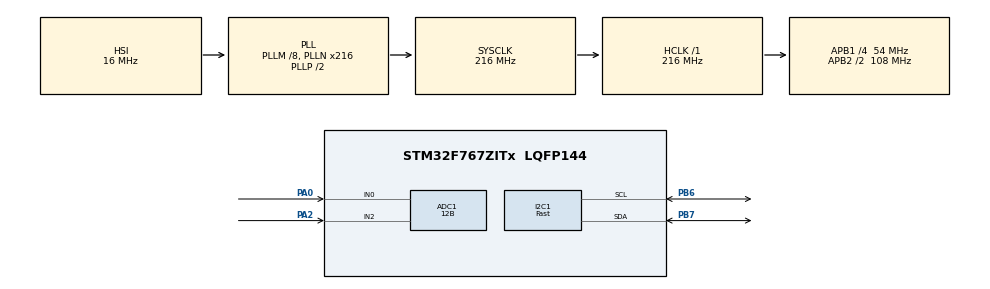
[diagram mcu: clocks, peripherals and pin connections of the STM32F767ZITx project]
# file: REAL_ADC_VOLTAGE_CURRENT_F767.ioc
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ADC1.Channel-0\#ChannelRegularConversion=ADC_CHANNEL_0
ADC1.Channel-1\#ChannelRegularConversion=ADC_CHANNEL_VREFINT
ADC1.Channel-2\#ChannelRegularConversion=ADC_CHANNEL_2
ADC1.ContinuousConvMode=ENABLE
ADC1.DMAContinuousRequests=ENABLE
ADC1.NbrOfConversion=3
ADC1.NbrOfConversionFlag=1
ADC1.Rank-0\#ChannelRegularConversion=1
ADC1.Rank-1\#ChannelRegularConversion=2
ADC1.Rank-2\#ChannelRegularConversion=3
ADC1.Resolution=ADC_RESOLUTION_12B
ADC1.SamplingTime-0\#ChannelRegularConversion=ADC_SAMPLETIME_56CYCLES
ADC1.SamplingTime-1\#ChannelRegularConversion=ADC_SAMPLETIME_56CYCLES
ADC1.SamplingTime-2\#ChannelRegularConversion=ADC_SAMPLETIME_112CYCLES
ADC1.ScanConvMode=ADC_SCAN_ENABLE
ADC1.master=1
Dma.ADC1.0.Direction=DMA_PERIPH_TO_MEMORY
Dma.ADC1.0.FIFOMode=DMA_FIFOMODE_DISABLE
Dma.ADC1.0.Instance=DMA2_Stream0
Dma.ADC1.0.MemDataAlignment=DMA_MDATAALIGN_WORD
Dma.ADC1.0.MemInc=DMA_MINC_ENABLE
Dma.ADC1.0.Mode=DMA_CIRCULAR
Dma.ADC1.0.PeriphDataAlignment=DMA_PDATAALIGN_WORD
Dma.ADC1.0.PeriphInc=DMA_PINC_DISABLE
Dma.ADC1.0.Priority=DMA_PRIORITY_MEDIUM
Dma.Request0=ADC1
I2C1.Analog_Filter=I2C_ANALOGFILTER_DISABLE
I2C1.I2C_Speed_Mode=I2C_Fast
I2C1.Timing=0x10A03FCB
Mcu.Family=STM32F7
Mcu.Name=STM32F767ZITx
Mcu.Package=LQFP144
NVIC.DMA2_Stream0_IRQn=true\:0\:0\:false\:false\:true\:false\:true\:true
NVIC.PriorityGroup=NVIC_PRIORITYGROUP_4
PA0/WKUP.Signal=ADCx_IN0
PA13.Mode=Serial_Wire
PA13.Signal=SYS_JTMS-SWDIO
PA14.Mode=Serial_Wire
PA14.Signal=SYS_JTCK-SWCLK
PA2.Signal=ADCx_IN2
PB6.Mode=I2C
PB6.Signal=I2C1_SCL
PB7.Mode=I2C
PB7.Signal=I2C1_SDA
PH0/OSC_IN.Mode=HSE-External-Oscillator
PH0/OSC_IN.Signal=RCC_OSC_IN
PH1/OSC_OUT.Mode=HSE-External-Oscillator
PH1/OSC_OUT.Signal=RCC_OSC_OUT
ProjectManager.HeapSize=0x200
ProjectManager.StackSize=0x400
ProjectManager.TargetToolchain=STM32CubeIDE
RCC.AHBFreq_Value=216000000
RCC.APB1CLKDivider=RCC_HCLK_DIV4
RCC.APB1Freq_Value=54000000
RCC.APB1TimFreq_Value=108000000
RCC.APB2CLKDivider=RCC_HCLK_DIV2
RCC.APB2Freq_Value=108000000
RCC.APB2TimFreq_Value=216000000
RCC.CortexFreq_Value=216000000
RCC.HCLKFreq_Value=216000000
RCC.HSE_VALUE=25000000
RCC.HSI_VALUE=16000000
RCC.I2C1CLockSelection=RCC_I2C1CLKSOURCE_SYSCLK
RCC.LSE_VALUE=32768
RCC.PLLM=8
RCC.PLLN=216
RCC.SYSCLKFreq_VALUE=216000000
RCC.SYSCLKSource=RCC_SYSCLKSOURCE_PLLCLK
RCC.USBFreq_Value=216000000
RCC.VCOOutputFreq_Value=432000000
SH.ADCx_IN0.0=ADC1_IN0,IN0
SH.ADCx_IN2.0=ADC1_IN2,IN2
VP_ADC1_Vref_Input.Mode=IN-Vrefint
board=custom

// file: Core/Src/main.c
/* USER CODE BEGIN Header */
/**
  ******************************************************************************
  * @file           : main.c
  * @brief          : Main program body
  ******************************************************************************
  * @attention
  *
  * Copyright (c) 2024 STMicroelectronics.
  * All rights reserved.
  *
  * This software is licensed under terms that can be found in the LICENSE file
  * in the root directory of this software component.
  * If no LICENSE file comes with this software, it is provided AS-IS.
  *
  ******************************************************************************
  */
/* USER CODE END Header */
#include "main.h"

/* USER CODE BEGIN Includes */
#include"i2c-lcd.h"
#include"string.h"
#include"stdio.h"
#define VREFIN_CAL ((uint16_t*)((uint32_t)0x1FF0F44A))
#define dger 0.353
uint32_t adc_value[3];
uint32_t adc_buffer[3];
float Aadc = 0, Vdda = 0,yuzde=0;
uint16_t adc=0;
float voltage=0;
int count = 0,buffer_a=0,buffer_b=0;
char aadc_Deger[50];
char vvdc_Deger[50];
float sum=0,sum2=0,sum3=0,real_voltage=0,yuzde_real=0,real_Aadc=0;
int i=0;
/* USER CODE END Includes */

ADC_HandleTypeDef hadc1;
DMA_HandleTypeDef hdma_adc1;

I2C_HandleTypeDef hi2c1;

/* USER CODE BEGIN PV */
char tx_buff[50];
/* USER CODE END PV */

void SystemClock_Config(void);
static void MX_GPIO_Init(void);
static void MX_DMA_Init(void);
static void MX_ADC1_Init(void);
static void MX_I2C1_Init(void);

/* USER CODE BEGIN 0 */

void adc_readcurrent(){
	  Vdda = (float) 3.3 * (*VREFIN_CAL) / adc_buffer[1];
	       buffer_a=adc_buffer[0];
//		  Aadc = (float)((Vdda * buffer_a / 4095)/330)*1000;
	       Aadc = (float)(Vdda * buffer_a / 4095);
		  buffer_b=adc_buffer[2];
		  voltage=(float)((Vdda * buffer_b/4095)/368)*1000;
		  yuzde=(float)(100*voltage)/9;
}

/* USER CODE END 0 */

int main(void)
{

  /* MCU Configuration--------------------------------------------------------*/

  /* Reset of all peripherals, Initializes the Flash interface and the Systick. */
  HAL_Init();

  /* Configure the system clock */
  SystemClock_Config();

  /* Initialize all configured peripherals */
  MX_GPIO_Init();
  MX_DMA_Init();
  MX_ADC1_Init();
  MX_I2C1_Init();
  /* USER CODE BEGIN 2 */
  lcd_init();
  HAL_ADC_Start_DMA(&hadc1,adc_buffer,3);

  /* USER CODE END 2 */

  /* Infinite loop */
  while (1)
  {

    /* USER CODE BEGIN 3 */

         for(i=0; i<4095; i++){
        	 adc_readcurrent();

        	 sum +=yuzde;
        	 sum2 +=voltage;
        	 sum3 +=Aadc;
         }
         real_voltage=(float) (sum2/4095);
         yuzde_real=(float) (sum/4095);
         real_Aadc=(float) (sum3/4095);
	  // lcd_send_cmd(0x80);
	  //lcd_send_string("E");
	  sprintf (aadc_Deger,"A:%.4f ma",real_Aadc);
	  sprintf (vvdc_Deger,"V:%.4fV %%:%.1f",real_voltage,yuzde_real);
	  lcd_send_string(aadc_Deger);
	  lcd_send_cmd(0xC0);
	  lcd_send_string(vvdc_Deger);
	  HAL_Delay(400);
	  lcd_send_cmd(0x01);
	  	 HAL_Delay(400);
     sum=0;
     sum2=0;
     sum3=0;

  }
  /* USER CODE END 3 */
}

void SystemClock_Config(void)
{
  RCC_OscInitTypeDef RCC_OscInitStruct = {0};
  RCC_ClkInitTypeDef RCC_ClkInitStruct = {0};

  /** Configure the main internal regulator output voltage
  */
  __HAL_RCC_PWR_CLK_ENABLE();
  __HAL_PWR_VOLTAGESCALING_CONFIG(PWR_REGULATOR_VOLTAGE_SCALE1);

  /** Initializes the RCC Oscillators according to the specified parameters
  * in the RCC_OscInitTypeDef structure.
  */
  RCC_OscInitStruct.OscillatorType = RCC_OSCILLATORTYPE_HSI;
  RCC_OscInitStruct.HSIState = RCC_HSI_ON;
  RCC_OscInitStruct.HSICalibrationValue = RCC_HSICALIBRATION_DEFAULT;
  RCC_OscInitStruct.PLL.PLLState = RCC_PLL_ON;
  RCC_OscInitStruct.PLL.PLLSource = RCC_PLLSOURCE_HSI;
  RCC_OscInitStruct.PLL.PLLM = 8;
  RCC_OscInitStruct.PLL.PLLN = 216;
  RCC_OscInitStruct.PLL.PLLP = RCC_PLLP_DIV2;
  RCC_OscInitStruct.PLL.PLLQ = 2;
  RCC_OscInitStruct.PLL.PLLR = 2;
  if (HAL_RCC_OscConfig(&RCC_OscInitStruct) != HAL_OK)
  {
    Error_Handler();
  }

  /** Activate the Over-Drive mode
  */
  if (HAL_PWREx_EnableOverDrive() != HAL_OK)
  {
    Error_Handler();
  }

  /** Initializes the CPU, AHB and APB buses clocks
  */
  RCC_ClkInitStruct.ClockType = RCC_CLOCKTYPE_HCLK|RCC_CLOCKTYPE_SYSCLK
                              |RCC_CLOCKTYPE_PCLK1|RCC_CLOCKTYPE_PCLK2;
  RCC_ClkInitStruct.SYSCLKSource = RCC_SYSCLKSOURCE_PLLCLK;
  RCC_ClkInitStruct.AHBCLKDivider = RCC_SYSCLK_DIV1;
  RCC_ClkInitStruct.APB1CLKDivider = RCC_HCLK_DIV4;
  RCC_ClkInitStruct.APB2CLKDivider = RCC_HCLK_DIV2;

  if (HAL_RCC_ClockConfig(&RCC_ClkInitStruct, FLASH_LATENCY_7) != HAL_OK)
  {
    Error_Handler();
  }
}

static void MX_ADC1_Init(void)
{

  ADC_ChannelConfTypeDef sConfig = {0};

  /** Configure the global features of the ADC (Clock, Resolution, Data Alignment and number of conversion)
  */
  hadc1.Instance = ADC1;
  hadc1.Init.ClockPrescaler = ADC_CLOCK_SYNC_PCLK_DIV4;
  hadc1.Init.Resolution = ADC_RESOLUTION_12B;
  hadc1.Init.ScanConvMode = ADC_SCAN_ENABLE;
  hadc1.Init.ContinuousConvMode = ENABLE;
  hadc1.Init.DiscontinuousConvMode = DISABLE;
  hadc1.Init.ExternalTrigConvEdge = ADC_EXTERNALTRIGCONVEDGE_NONE;
  hadc1.Init.ExternalTrigConv = ADC_SOFTWARE_START;
  hadc1.Init.DataAlign = ADC_DATAALIGN_RIGHT;
  hadc1.Init.NbrOfConversion = 3;
  hadc1.Init.DMAContinuousRequests = ENABLE;
  hadc1.Init.EOCSelection = ADC_EOC_SINGLE_CONV;
  if (HAL_ADC_Init(&hadc1) != HAL_OK)
  {
    Error_Handler();
  }

  /** Configure for the selected ADC regular channel its corresponding rank in the sequencer and its sample time.
  */
  sConfig.Channel = ADC_CHANNEL_0;
  sConfig.Rank = ADC_REGULAR_RANK_1;
  sConfig.SamplingTime = ADC_SAMPLETIME_56CYCLES;
  if (HAL_ADC_ConfigChannel(&hadc1, &sConfig) != HAL_OK)
  {
    Error_Handler();
  }

  /** Configure for the selected ADC regular channel its corresponding rank in the sequencer and its sample time.
  */
  sConfig.Channel = ADC_CHANNEL_VREFINT;
  sConfig.Rank = ADC_REGULAR_RANK_2;
  if (HAL_ADC_ConfigChannel(&hadc1, &sConfig) != HAL_OK)
  {
    Error_Handler();
  }

  /** Configure for the selected ADC regular channel its corresponding rank in the sequencer and its sample time.
  */
  sConfig.Channel = ADC_CHANNEL_2;
  sConfig.Rank = ADC_REGULAR_RANK_3;
  sConfig.SamplingTime = ADC_SAMPLETIME_112CYCLES;
  if (HAL_ADC_ConfigChannel(&hadc1, &sConfig) != HAL_OK)
  {
    Error_Handler();
  }

}

static void MX_I2C1_Init(void)
{

  hi2c1.Instance = I2C1;
  hi2c1.Init.Timing = 0x10A03FCB;
  hi2c1.Init.OwnAddress1 = 0;
  hi2c1.Init.AddressingMode = I2C_ADDRESSINGMODE_7BIT;
  hi2c1.Init.DualAddressMode = I2C_DUALADDRESS_DISABLE;
  hi2c1.Init.OwnAddress2 = 0;
  hi2c1.Init.OwnAddress2Masks = I2C_OA2_NOMASK;
  hi2c1.Init.GeneralCallMode = I2C_GENERALCALL_DISABLE;
  hi2c1.Init.NoStretchMode = I2C_NOSTRETCH_DISABLE;
  if (HAL_I2C_Init(&hi2c1) != HAL_OK)
  {
    Error_Handler();
  }

  /** Configure Analogue filter
  */
  if (HAL_I2CEx_ConfigAnalogFilter(&hi2c1, I2C_ANALOGFILTER_DISABLE) != HAL_OK)
  {
    Error_Handler();
  }

  /** Configure Digital filter
  */
  if (HAL_I2CEx_ConfigDigitalFilter(&hi2c1, 0) != HAL_OK)
  {
    Error_Handler();
  }

}

static void MX_DMA_Init(void)
{

  /* DMA controller clock enable */
  __HAL_RCC_DMA2_CLK_ENABLE();

  /* DMA interrupt init */
  /* DMA2_Stream0_IRQn interrupt configuration */
  HAL_NVIC_SetPriority(DMA2_Stream0_IRQn, 0, 0);
  HAL_NVIC_EnableIRQ(DMA2_Stream0_IRQn);

}

static void MX_GPIO_Init(void)
{

  /* GPIO Ports Clock Enable */
  __HAL_RCC_GPIOH_CLK_ENABLE();
  __HAL_RCC_GPIOA_CLK_ENABLE();
  __HAL_RCC_GPIOB_CLK_ENABLE();

}

void Error_Handler(void)
{
  __disable_irq();
  while (1)
  {
  }
}
